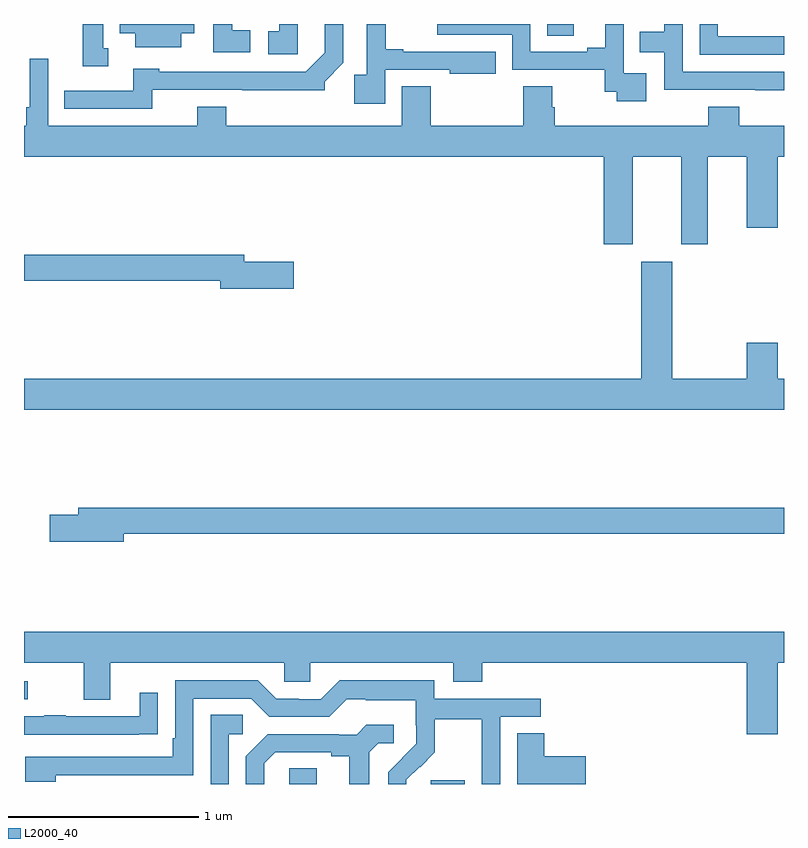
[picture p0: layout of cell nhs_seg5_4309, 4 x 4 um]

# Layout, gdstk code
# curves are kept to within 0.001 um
import gdstk
lib = gdstk.Library(unit=1e-6, precision=1e-09)
def R(c, l, rs):  # rectangles x0, y0, x1, y1
    for r in rs: c.add(gdstk.rectangle(r[:2], r[2:], *l))
def P(c, l, *ps):  # polygons
    for p in ps: c.add(gdstk.Polygon(p, *l))
L2000_40 = (2000, 40)

nhs_seg5_4309 = lib.new_cell('nhs_seg5_4309')
R(nhs_seg5_4309, L2000_40, [(366.396,846.799,366.541,846.881), (367.142,846.799,367.321,846.819), (365,847.245,365.02,847.341), (367.754,850.738,367.894,850.799)])
P(nhs_seg5_4309, L2000_40, [(365.827,850.751),(365.896,850.751),(365.896,850.799),(365.503,850.799),(365.503,850.751),(365.585,850.751),(365.585,850.676),(365.827,850.676)],
  [(368.275,850.539),(368.157,850.539),(368.157,850.799),(368.06,850.799),(368.06,850.673),(367.964,850.673),(367.964,850.653),(367.665,850.653),(367.665,850.799),(367.174,850.799),(367.174,850.743),(367.569,850.743),(367.569,850.557),(368.056,850.557),(368.056,850.443),(368.119,850.443),(368.119,850.392),(368.275,850.392)],
  [(369,850.734),(368.652,850.734),(368.652,850.799),(368.556,850.799),(368.556,850.638),(369,850.638)],
  [(365.443,850.671),(365.418,850.671),(365.418,850.799),(365.31,850.799),(365.31,850.577),(365.443,850.577)],
  [(366.19,850.766),(366.096,850.766),(366.096,850.799),(365.997,850.799),(365.997,850.65),(366.19,850.65)],
  [(366.442,850.799),(366.343,850.799),(366.343,850.761),(366.285,850.761),(366.285,850.641),(366.442,850.641)],
  [(369,850.548),(368.466,850.548),(368.466,850.799),(368.369,850.799),(368.369,850.759),(368.242,850.759),(368.242,850.65),(368.37,850.65),(368.37,850.452),(368.848,850.452),(368.848,850.451),(369,850.451)],
  [(366.9,850.557),(367.241,850.557),(367.241,850.538),(367.484,850.538),(367.484,850.653),(366.997,850.653),(366.997,850.666),(366.905,850.666),(366.905,850.799),(366.804,850.799),(366.804,850.531),(366.739,850.531),(366.739,850.38),(366.9,850.38)],
  [(365.676,850.452),(366.582,850.451),(366.582,850.495),(366.681,850.594),(366.681,850.799),(366.584,850.799),(366.584,850.649),(366.483,850.548),(365.712,850.548),(365.712,850.564),(365.576,850.564),(365.576,850.449),(365.212,850.449),(365.212,850.353),(365.676,850.353)],
  [(368.765,850.363),(368.6,850.363),(368.6,850.264),(367.793,850.264),(367.793,850.362),(367.78,850.362),(367.78,850.472),(367.628,850.472),(367.628,850.264),(367.142,850.264),(367.142,850.472),(366.989,850.472),(366.989,850.264),(366.065,850.264),(366.065,850.363),(365.912,850.363),(365.912,850.264),(365.127,850.264),(365.127,850.615),(365.03,850.615),(365.03,850.36),(365.011,850.36),(365.011,850.264),(365,850.264),(365,850.1),(368.051,850.1),(368.051,849.639),(368.203,849.639),(368.203,850.1),(368.459,850.1),(368.459,849.639),(368.599,849.639),(368.599,850.1),(368.804,850.1),(368.804,849.726),(368.968,849.726),(368.968,850.1),(369,850.1),(369,850.264),(368.765,850.264)],
  [(366.421,849.548),(366.16,849.548),(366.16,849.584),(365,849.584),(365,849.448),(366.032,849.448),(366.032,849.406),(366.421,849.406)],
  [(369,848.932),(368.968,848.932),(368.968,849.121),(368.804,849.121),(368.804,848.932),(368.413,848.932),(368.413,849.547),(368.249,849.547),(368.249,848.932),(365,848.932),(365,848.768),(369,848.768)],
  [(365.524,848.116),(369,848.116),(369,848.252),(365.285,848.252),(365.285,848.216),(365.136,848.216),(365.136,848.074),(365.524,848.074)],
  [(368.968,847.436),(369,847.436),(369,847.6),(365,847.6),(365,847.436),(365.315,847.436),(365.315,847.242),(365.455,847.242),(365.455,847.436),(366.369,847.436),(366.369,847.338),(366.507,847.338),(366.507,847.436),(367.259,847.436),(367.259,847.337),(367.412,847.337),(367.412,847.436),(368.804,847.436),(368.804,847.062),(368.968,847.062)],
  [(367.013,846.821),(367.083,846.891),(367.086,846.888),(367.163,846.965),(367.163,847.14),(367.408,847.14),(367.408,846.916),(367.41,846.916),(367.41,846.799),(367.506,846.799),(367.506,847.152),(367.72,847.152),(367.72,847.248),(367.158,847.248),(367.158,847.345),(366.661,847.345),(366.561,847.245),(366.446,847.245),(366.446,847.248),(366.327,847.248),(366.231,847.344),(365.796,847.344),(365.796,847.039),(365.783,847.039),(365.783,846.942),(365.007,846.942),(365.007,846.812),(365.168,846.812),(365.168,846.846),(365.892,846.846),(365.892,847.248),(366.195,847.248),(366.291,847.152),(366.606,847.152),(366.699,847.245),(366.799,847.245),(366.799,847.241),(367.062,847.241),(367.062,847.107),(367.064,847.107),(367.064,847.01),(366.918,846.862),(366.918,846.799),(367.013,846.799)],
  [(365.603,847.06),(365.705,847.06),(365.705,847.279),(365.609,847.279),(365.609,847.155),(365.219,847.155),(365.219,847.16),(365.107,847.16),(365.107,847.155),(365,847.155),(365,847.059),(365.603,847.059)],
  [(366.078,847.062),(366.151,847.062),(366.151,847.163),(365.982,847.163),(365.982,846.799),(366.078,846.799)],
  [(366.265,846.909),(366.322,846.966),(366.617,846.966),(366.617,846.944),(366.713,846.944),(366.713,846.799),(366.817,846.799),(366.817,846.967),(366.864,847.014),(366.946,847.014),(366.946,847.111),(366.802,847.111),(366.75,847.059),(366.656,847.059),(366.656,847.062),(366.284,847.062),(366.168,846.946),(366.168,846.799),(366.265,846.799)],
  [(367.957,846.944),(367.739,846.944),(367.739,847.067),(367.595,847.067),(367.595,846.799),(367.957,846.799)])

lib.write_gds('nhs_seg5_4309.gds')
